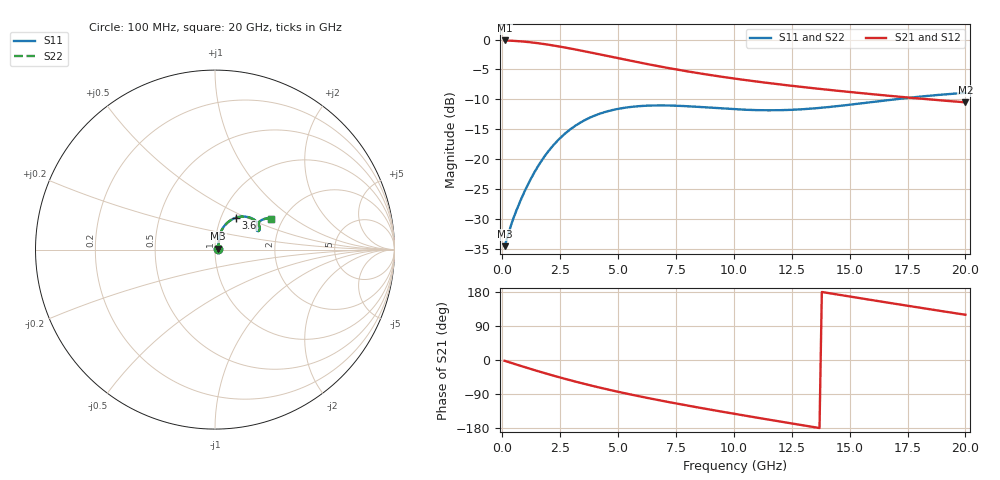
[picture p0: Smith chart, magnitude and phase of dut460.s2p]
! Touchstone file exported from HFSS 2024.1.0
!  File:  C:/UserFiles/LocalFiles/RDL_TSV_Batchsim/temp_RDL_TSV_460_1779727308.aedt
!  Generated:  01:00:16 AM May 26, 2026
!  Design:  RDL_TSV
!  Project:  temp_RDL_TSV_460_1779727308
!  Setup:  Setup1
!  Solution:  Sweep
! Variables:
!  dtsv = 7.4um
!  hbump = 3um
!  htsv = 78.68um
!  ldown = 652.75um
!  lrdl = 398.21um
!  p = 40
!  p1 = 50.96um
!  rhole = 10um
!  subl = 3551.09um
!  t = 450um
!  tdown = 3.14um
!  trdl = 4.41um
!  viad = 10um
!  wdown = 22.5um
!  wrdl = 19.15um
!  xbump = 18um
# GHz S MA R 50.000000
! Terminal data exported
! Port[1] = TM1_1_T1
! Port[2] = TM1_4_T1
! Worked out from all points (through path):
!   200 points, 100 MHz to 20 GHz, reference 50 ohm
!   highest |S21| = -0.16 dB at 100 MHz (marker M1); lowest = -10.5 dB at 20 GHz (marker M2)
!   group delay of S21, straight-line fit = 31.7 ps
!   lowest |S11| = -34.6 dB at 100 MHz (marker M3), VSWR 1.04, Z = 51.8 + j0.603 ohm
!   |S11| at or under -10 dB: start of sweep to 16.99 GHz
!   |S22| runs from -34.6 to -8.9 dB; largest |S21 - S12| = 2.8e-14
!   S11 on the Smith chart (normalised r, x): 100 MHz: 1.04, +0.01; 3.6 GHz: 1.18, +0.44; 20 GHz: 1.75, +0.68
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0.1  0.01865 18.2  0.9821 -2.0  0.9821 -2.0  0.01865 18.2
! Gamma 0 0 0 0
! Port Impedance 50 0 50 0
0.4  0.02882 46.6  0.9767 -7.9  0.9767 -7.9  0.02882 46.5
0.8  0.04558 62.5  0.9654 -15.6  0.9654 -15.6  0.04558 62.4
1.2  0.06644 69.6  0.9491 -23.2  0.9491 -23.2  0.06641 69.6
1.6  0.09065 71.7  0.9285 -30.5  0.9285 -30.5  0.0906 71.7
2  0.1168 70.8  0.9046 -37.7  0.9046 -37.7  0.1167 70.8
2.5  0.1499 67.4  0.8716 -46.3  0.8716 -46.3  0.1497 67.4
3  0.181 62.7  0.8365 -54.5  0.8365 -54.5  0.1808 62.7
3.5  0.2084 57.6  0.8007 -62.3  0.8007 -62.3  0.2082 57.6
3.6  0.2134 56.5  0.7936 -63.9  0.7936 -63.9  0.2132 56.5
4.3  0.2427 49.4  0.7443 -74.2  0.7443 -74.2  0.2424 49.4
5.2  0.267 41.2  0.6849 -86.5  0.6849 -86.5  0.2667 41.2
6  0.2778 35.1  0.6373 -96.8  0.6373 -96.8  0.2775 35.1
6.8  0.2809 30.3  0.5951 -106.5  0.5951 -106.5  0.2807 30.3
8.4  0.2736 24.4  0.5255 -124.7  0.5255 -124.7  0.2734 24.4
10.1  0.2607 23.3  0.469 -142.8  0.469 -142.8  0.2606 23.3
11.7  0.2558 25.7  0.4276 -159.3  0.4276 -159.3  0.2558 25.7
13.4  0.2646 29.5  0.3919 -176.5  0.3919 -176.5  0.2647 29.5
15.1  0.2861 32.0  0.3622 166.6  0.3622 166.6  0.2861 31.9
16.7  0.3116 32.3  0.3381 150.9  0.3381 150.9  0.3115 32.3
18.3  0.3364 31.0  0.3172 135.5  0.3172 135.5  0.3363 30.9
20  0.3576 28.4  0.298 119.4  0.298 119.4  0.3573 28.4
